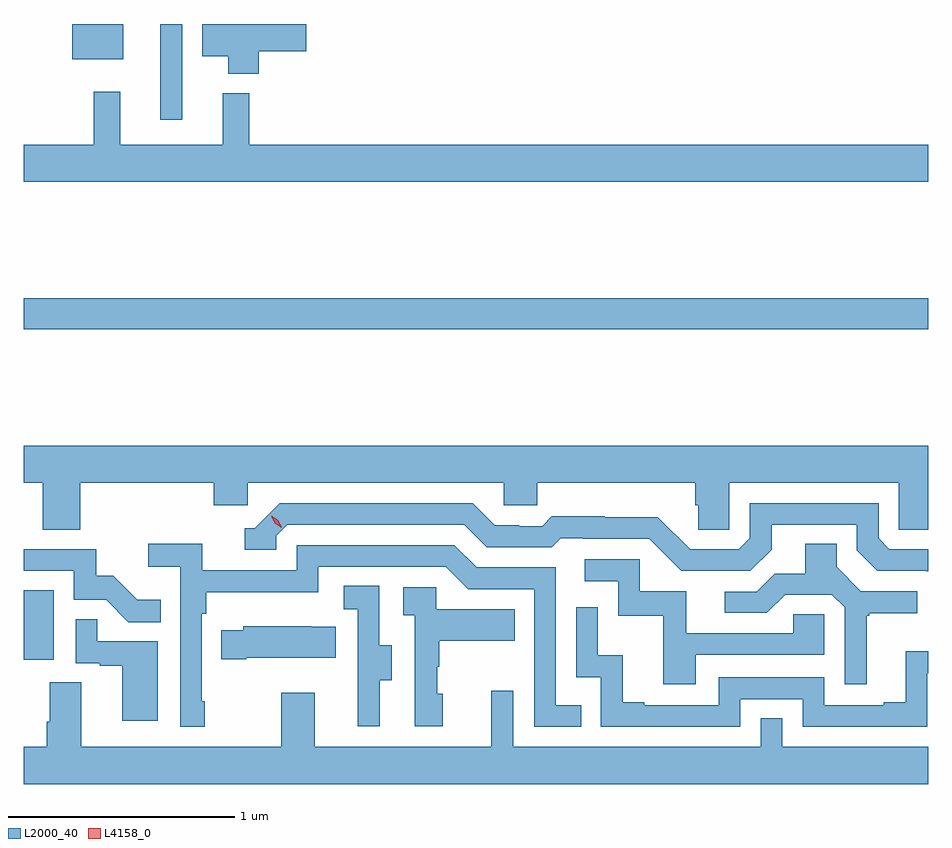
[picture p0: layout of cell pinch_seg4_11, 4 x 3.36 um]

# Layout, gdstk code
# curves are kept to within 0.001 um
import gdstk
lib = gdstk.Library(unit=1e-6, precision=1e-09)
def R(c, l, rs):  # rectangles x0, y0, x1, y1
    for r in rs: c.add(gdstk.rectangle(r[:2], r[2:], *l))
def P(c, l, *ps):  # polygons
    for p in ps: c.add(gdstk.Polygon(p, *l))
L2000_40 = (2000, 40)
L4158_0 = (4158, 0)

pinch_seg4_11 = lib.new_cell('pinch_seg4_11')
R(pinch_seg4_11, L2000_40, [(1106.189,814.686,1106.32,814.993), (1106.189,816.148,1110.189,816.284), (1106.792,817.074,1106.889,817.498), (1106.402,817.343,1106.629,817.498)])
P(pinch_seg4_11, L2000_40, [(1107.227,817.378),(1107.439,817.378),(1107.439,817.498),(1106.978,817.498),(1106.978,817.355),(1107.092,817.355),(1107.092,817.277),(1107.227,817.277)],
  [(1110.189,816.964),(1107.185,816.964),(1107.185,817.192),(1107.068,817.192),(1107.068,816.964),(1106.615,816.964),(1106.615,817.198),(1106.497,817.198),(1106.497,816.964),(1106.189,816.964),(1106.189,816.8),(1110.189,816.8)],
  [(1106.189,815.468),(1106.273,815.468),(1106.273,815.26),(1106.438,815.26),(1106.438,815.468),(1107.029,815.468),(1107.029,815.37),(1107.18,815.37),(1107.18,815.468),(1108.311,815.468),(1108.311,815.37),(1108.461,815.37),(1108.461,815.468),(1109.159,815.468),(1109.159,815.37),(1109.173,815.37),(1109.173,815.26),(1109.31,815.26),(1109.31,815.468),(1110.06,815.468),(1110.06,815.26),(1110.189,815.26),(1110.189,815.632),(1106.189,815.632)],
  [(1110.189,815.175),(1110.018,815.175),(1109.97,815.223),(1109.97,815.379),(1109.4,815.379),(1109.4,815.223),(1109.352,815.175),(1109.136,815.175),(1108.994,815.317),(1108.758,815.317),(1108.758,815.32),(1108.525,815.32),(1108.483,815.277),(1108.38,815.277),(1108.38,815.28),(1108.273,815.28),(1108.174,815.379),(1107.321,815.379),(1107.21,815.268),(1107.167,815.268),(1107.167,815.172),(1107.306,815.172),(1107.306,815.235),(1107.354,815.283),(1108.137,815.283),(1108.236,815.184),(1108.525,815.184),(1108.564,815.223),(1108.663,815.223),(1108.663,815.22),(1108.956,815.22),(1109.097,815.079),(1109.403,815.079),(1109.497,815.173),(1109.497,815.283),(1109.874,815.283),(1109.874,815.169),(1109.964,815.079),(1110.189,815.078)],
  [(1109.917,814.881),(1109.929,814.881),(1109.929,814.892),(1110.142,814.892),(1110.142,814.989),(1109.892,814.989),(1109.785,815.096),(1109.785,815.198),(1109.645,815.198),(1109.645,815.066),(1109.51,815.066),(1109.43,814.986),(1109.289,814.986),(1109.289,814.893),(1109.476,814.893),(1109.557,814.974),(1109.763,814.974),(1109.82,814.917),(1109.82,814.578),(1109.917,814.578)],
  [(1106.989,814.501),(1106.976,814.501),(1106.976,814.889),(1106.996,814.889),(1106.996,814.985),(1107.492,814.985),(1107.492,815.097),(1108.056,815.097),(1108.155,814.998),(1108.446,814.998),(1108.446,814.389),(1108.655,814.389),(1108.655,814.485),(1108.542,814.485),(1108.542,815.094),(1108.192,815.094),(1108.093,815.193),(1107.396,815.193),(1107.396,815.082),(1106.978,815.082),(1106.978,815.198),(1106.739,815.198),(1106.739,815.096),(1106.88,815.096),(1106.88,814.389),(1106.989,814.389)],
  [(1106.795,814.951),(1106.691,814.951),(1106.584,815.058),(1106.508,815.058),(1106.508,815.175),(1106.189,815.175),(1106.189,815.079),(1106.409,815.079),(1106.409,814.95),(1106.553,814.95),(1106.651,814.852),(1106.795,814.852)],
  [(1109.161,814.707),(1109.73,814.707),(1109.73,814.887),(1109.593,814.887),(1109.593,814.803),(1109.119,814.803),(1109.119,814.989),(1108.914,814.989),(1108.914,815.13),(1108.671,815.13),(1108.671,815.034),(1108.818,815.034),(1108.818,814.881),(1109.017,814.881),(1109.017,814.578),(1109.161,814.578)],
  [(1107.763,814.594),(1107.817,814.594),(1107.817,814.749),(1107.762,814.749),(1107.762,815.012),(1107.603,815.012),(1107.603,814.909),(1107.666,814.909),(1107.666,814.605),(1107.665,814.605),(1107.665,814.392),(1107.763,814.392)],
  [(1108.042,814.536),(1108.017,814.536),(1108.017,814.655),(1108.027,814.655),(1108.027,814.769),(1108.361,814.769),(1108.361,814.909),(1108.014,814.909),(1108.014,815.007),(1107.867,815.007),(1107.867,814.883),(1107.918,814.883),(1107.918,814.392),(1108.042,814.392)],
  [(1109.358,814.512),(1109.634,814.512),(1109.634,814.389),(1110.186,814.389),(1110.186,814.625),(1110.189,814.625),(1110.189,814.723),(1110.089,814.723),(1110.089,814.498),(1109.993,814.498),(1109.993,814.485),(1109.73,814.485),(1109.73,814.608),(1109.262,814.608),(1109.262,814.485),(1108.933,814.485),(1108.933,814.498),(1108.838,814.498),(1108.838,814.706),(1108.728,814.706),(1108.728,814.918),(1108.632,814.918),(1108.632,814.608),(1108.74,814.608),(1108.74,814.389),(1109.358,814.389)],
  [(1106.782,814.767),(1106.513,814.767),(1106.513,814.865),(1106.418,814.865),(1106.418,814.671),(1106.525,814.671),(1106.525,814.659),(1106.624,814.659),(1106.624,814.416),(1106.782,814.416)],
  [(1107.172,814.694),(1107.569,814.694),(1107.569,814.831),(1107.461,814.831),(1107.461,814.834),(1107.159,814.834),(1107.159,814.816),(1107.061,814.816),(1107.061,814.687),(1107.172,814.687)],
  [(1110.189,814.3),(1109.544,814.3),(1109.544,814.427),(1109.448,814.427),(1109.448,814.3),(1108.353,814.3),(1108.353,814.549),(1108.256,814.549),(1108.256,814.3),(1107.475,814.3),(1107.475,814.54),(1107.328,814.54),(1107.328,814.3),(1106.443,814.3),(1106.443,814.586),(1106.303,814.586),(1106.303,814.412),(1106.291,814.412),(1106.291,814.3),(1106.189,814.3),(1106.189,814.136),(1110.189,814.136)])
P(pinch_seg4_11, L4158_0, [(1107.33,815.269),(1107.299,815.289),(1107.284,815.322),(1107.284,815.322),(1107.284,815.322),(1107.314,815.302),(1107.33,815.269),(1107.33,815.269)])

lib.write_gds('pinch_seg4_11.gds')
